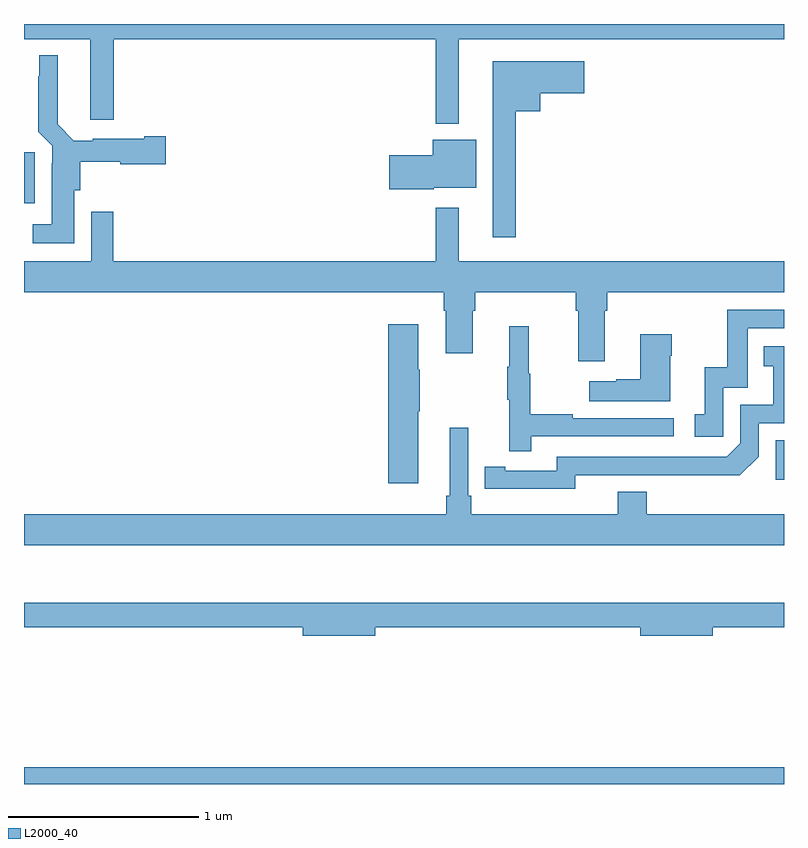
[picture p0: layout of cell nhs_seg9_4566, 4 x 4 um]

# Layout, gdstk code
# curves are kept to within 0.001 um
import gdstk
lib = gdstk.Library(unit=1e-6, precision=1e-09)
def R(c, l, rs):  # rectangles x0, y0, x1, y1
    for r in rs: c.add(gdstk.rectangle(r[:2], r[2:], *l))
def P(c, l, *ps):  # polygons
    for p in ps: c.add(gdstk.Polygon(p, *l))
L2000_40 = (2000, 40)

nhs_seg9_4566 = lib.new_cell('nhs_seg9_4566')
R(nhs_seg9_4566, L2000_40, [(373,1192.5,377,1192.588), (376.956,1194.102,377,1194.309), (373,1195.557,373.057,1195.825)])
P(nhs_seg9_4566, L2000_40, [(375.289,1196.42),(377,1196.42),(377,1196.5),(373,1196.5),(373,1196.42),(373.349,1196.42),(373.349,1195.995),(373.472,1195.995),(373.472,1196.42),(375.168,1196.42),(375.168,1195.976),(375.289,1195.976)],
  [(373.264,1195.626),(373.295,1195.626),(373.295,1195.775),(373.506,1195.775),(373.506,1195.763),(373.747,1195.763),(373.747,1195.91),(373.634,1195.91),(373.634,1195.897),(373.362,1195.897),(373.362,1195.885),(373.263,1195.885),(373.177,1195.972),(373.177,1196.335),(373.079,1196.335),(373.079,1196.225),(373.075,1196.225),(373.075,1195.934),(373.149,1195.86),(373.149,1195.766),(373.145,1195.766),(373.145,1195.447),(373.047,1195.447),(373.047,1195.346),(373.264,1195.346)],
  [(375.589,1196.042),(375.718,1196.042),(375.718,1196.135),(375.949,1196.135),(375.949,1196.305),(375.467,1196.305),(375.467,1195.377),(375.589,1195.377)],
  [(375.156,1195.637),(375.379,1195.637),(375.379,1195.891),(375.152,1195.891),(375.152,1195.808),(374.922,1195.808),(374.922,1195.63),(375.156,1195.63)],
  [(376.057,1194.992),(376.07,1194.992),(376.07,1195.088),(377,1195.088),(377,1195.252),(375.289,1195.252),(375.289,1195.534),(375.168,1195.534),(375.168,1195.252),(373.469,1195.252),(373.469,1195.513),(373.353,1195.513),(373.353,1195.252),(373,1195.252),(373,1195.088),(375.209,1195.088),(375.209,1194.992),(375.221,1194.992),(375.221,1194.768),(375.361,1194.768),(375.361,1194.992),(375.374,1194.992),(375.374,1195.088),(375.905,1195.088),(375.905,1194.992),(375.917,1194.992),(375.917,1194.726),(376.057,1194.726)],
  [(376.68,1194.585),(376.809,1194.585),(376.809,1194.9),(377,1194.9),(377,1194.996),(376.701,1194.996),(376.701,1194.694),(376.583,1194.694),(376.583,1194.447),(376.53,1194.447),(376.53,1194.327),(376.68,1194.327)],
  [(375.076,1194.463),(375.084,1194.463),(375.084,1194.68),(375.076,1194.68),(375.076,1194.919),(374.918,1194.919),(374.918,1194.084),(375.076,1194.084)],
  [(375.671,1194.33),(376.42,1194.33),(376.42,1194.426),(375.887,1194.426),(375.887,1194.446),(375.664,1194.446),(375.664,1194.66),(375.656,1194.66),(375.656,1194.91),(375.554,1194.91),(375.554,1194.697),(375.543,1194.697),(375.543,1194.523),(375.554,1194.523),(375.554,1194.252),(375.671,1194.252)],
  [(376.402,1194.755),(376.41,1194.755),(376.41,1194.868),(376.244,1194.868),(376.244,1194.629),(376.118,1194.629),(376.118,1194.619),(375.975,1194.619),(375.975,1194.515),(376.402,1194.515)],
  [(375.9,1194.126),(376.768,1194.125),(376.866,1194.222),(376.866,1194.399),(377,1194.399),(377,1194.805),(376.894,1194.805),(376.894,1194.699),(376.943,1194.699),(376.943,1194.495),(376.77,1194.495),(376.77,1194.294),(376.698,1194.222),(375.804,1194.222),(375.804,1194.15),(375.532,1194.15),(375.532,1194.17),(375.424,1194.17),(375.424,1194.054),(375.9,1194.053)],
  [(377,1193.92),(376.277,1193.92),(376.277,1194.037),(376.124,1194.037),(376.124,1193.92),(375.353,1193.92),(375.353,1194.016),(375.339,1194.016),(375.339,1194.376),(375.242,1194.376),(375.242,1194.016),(375.223,1194.016),(375.223,1193.92),(373,1193.92),(373,1193.756),(377,1193.756)],
  [(374.848,1193.326),(376.244,1193.326),(376.244,1193.279),(376.624,1193.279),(376.624,1193.326),(377,1193.326),(377,1193.455),(373,1193.455),(373,1193.326),(374.468,1193.326),(374.468,1193.279),(374.848,1193.279)])

lib.write_gds('nhs_seg9_4566.gds')
